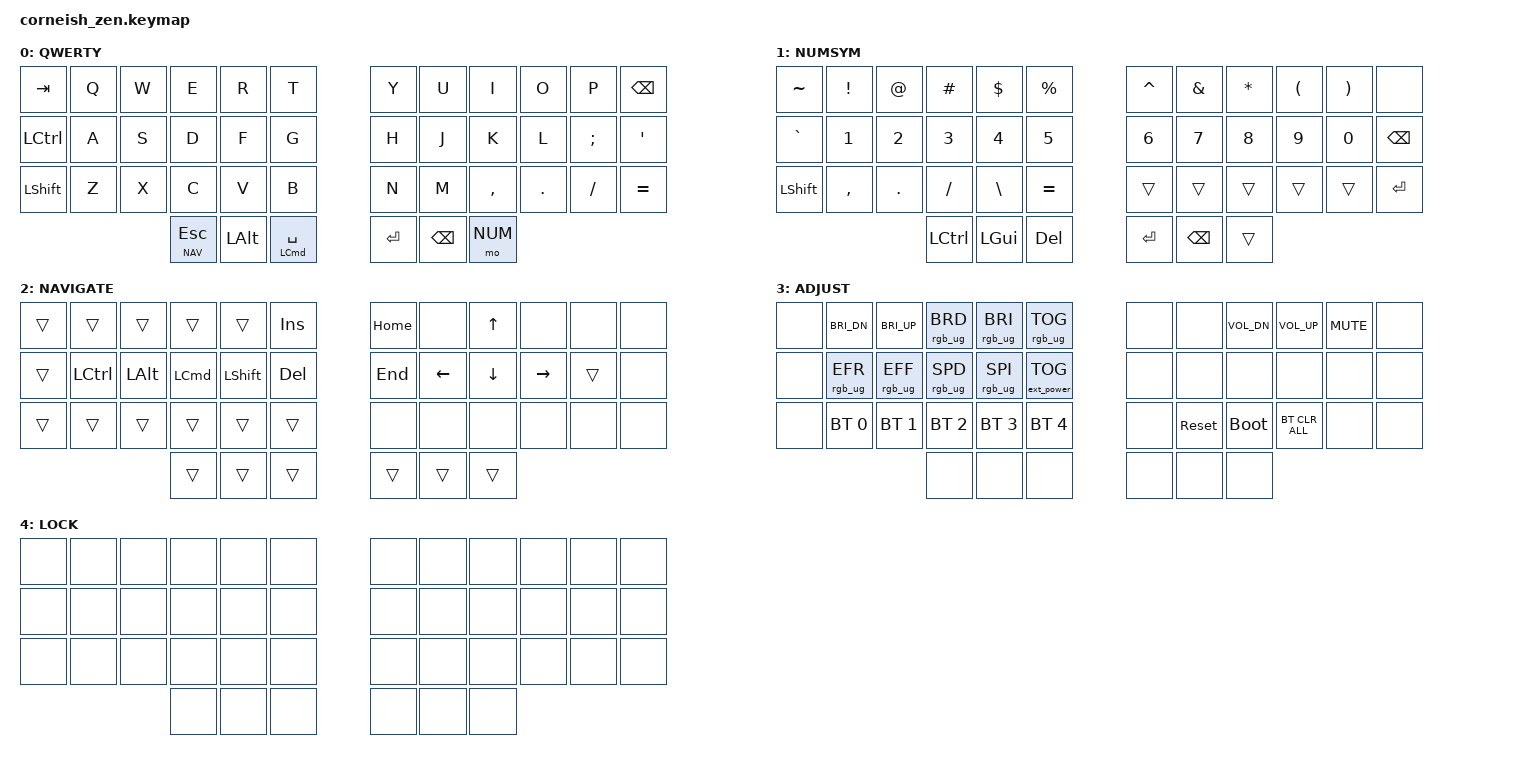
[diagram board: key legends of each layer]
/*
*
* Copyright (c) 2021 Darryl deHaan
* SPDX-License-Identifier: MIT
*
*/

#include <behaviors.dtsi>
#include <dt-bindings/zmk/keys.h>
#include <dt-bindings/zmk/bt.h>
#include <dt-bindings/zmk/ext_power.h>
#include <dt-bindings/zmk/outputs.h>
#include <dt-bindings/zmk/rgb.h>

#define BASE 0
#define NUM 1
#define NAV 2
#define ADJUST 3
#define LOCK 4

/ {
    chosen {
        zmk,matrix_transform = &default_transform;
        // zmk,matrix_transform = &five_column_transform;
    };
};

/ {
    combos {
        compatible = "zmk,combos";

        // combo for turning volume up
        combo_vol_up {
            bindings = <&kp C_VOL_UP>;
            key-positions = <28 35>;
            layers = <0 1 2 3 4>;
            timeout-ms = <50>;
        };

        // combo for turning volume down
        combo_vol_down {
            bindings = <&kp C_VOL_DN>;
            key-positions = <28 34>;
            layers = <0 1 2 3 4>;
            timeout-ms = <50>;
        };


        // combo for delete
        combo_del {
            bindings = <&kp DEL>;
            key-positions = <24 39>;
            layers = <0 1 2 3 4>;
            timeout-ms = <50>;
        };

        // combo for forward slash
        combo_fslh {
            bindings = <&kp FSLH>;
            key-positions = <3 16>;
            layers = <0 1 2 3 4>;
            timeout-ms = <50>;
        };

        combo_bslh {
            bindings = <&kp BSLH>;
            key-positions = <8 19>;
            layers = <0 1 2 3 4>;
            timeout-ms = <50>;
        };

        // combo for typing brackets []
        combo_brackets {
            // 可以用CMD+这个单手返回到代码上一个编辑的地方 或者网页返回
            bindings = <&mt RBKT LBKT>; // CMD+[
            key-positions = <5 6>;
            layers = <0 1 2 3 4>;
            timeout-ms = <50>;
        };

        // combo for typing parenthesis ()
        combo_parenthesis {
            bindings = <&mt RPAR LPAR>;
            key-positions = <17 18>;
            layers = <0 1 2 3 4>;
            timeout-ms = <50>;
        };

        // combo for typing braces {}
        combo_braces {
            bindings = <&mt RBRC LBRC>;
            key-positions = <29 30>;
            layers = <0 1 2 3 4>;
            timeout-ms = <50>;
        };

        // combo for momentarily go to layer ADJUST
        combo_mo_adjust {
            bindings = <&mo ADJUST>;
            key-positions = <36 41>;
            layers = <0 1 2 3 4>;
            timeout-ms = <100>;
        };

        // combo for toggle layer LOCK
        combo_tog_layer_lock {
            bindings = <&tog LOCK>;
            key-positions = <0 5 38>;
            timeout-ms = <100>;
        };
    };

    behaviors {
        
        // Mod-morph behavior
        // turn LEFT_SHIFT + BACKSPACE into DELETE
        // turn RIGHT_SHIFT + BACKSPACE into RIGHT_SHIFT + DELETE
        bspc_del: backspace_delete {
            compatible = "zmk,behavior-mod-morph";
            #binding-cells = <0>;
            bindings = <&kp BACKSPACE>, <&kp DELETE>;
            mods = <(MOD_LSFT|MOD_RSFT)>;
            keep-mods = <(MOD_RSFT)>;
        };

        td0: td0 {
            compatible = "zmk,behavior-tap-dance";
            label = "TD0";
            #binding-cells = <0>;
            tapping-term-ms = <100>;
            bindings = <&kp LEFT_SHIFT>, <&kp LC(SPACE)>;
        };

        mtt: mtt {
            compatible = "zmk,behavior-hold-tap";
            label = "MTT";
            bindings = <&kp>, <&kp>;

            #binding-cells = <2>;
            tapping-term-ms = <500>;
            flavor = "tap-preferred";
        };

        ltt: ltt {
            compatible = "zmk,behavior-hold-tap";
            label = "LTT";
            bindings = <&mo>, <&kp>;

            #binding-cells = <2>;
            flavor = "tap-preferred";
            tapping-term-ms = <200>;
        };

        htg: htg {
            compatible = "zmk,behavior-hold-tap";
            #binding-cells = <2>;
            bindings = <&kp>, <&tog>;
            tapping-term-ms = <200>;
        };
    };
    
    keymap {
        compatible = "zmk,keymap";

        base {
            // -----------------------------------------------------------------------------------------
            // |  TAB |  Q  |  W  |  F  |  P  |  G  |   |  J  |  L   |  U  |  Y  |  :  | BKSP |
            // | CTRL |  A  |  R  |  S  | _T_ |  D  |   |  H  | _N_  |  E  |  I  |  O  |  '   |
            // | SHFT |  Z  |  X  |  C  |  V  |  B  |   |  K  |  M   |  ,  |  .  |  /  | RET  |
            //                    | GUI | LWR | SPC |   | ENT | RSE  | ALT |
            display-name = "QWERTY";
            bindings = <
&kp TAB      &kp Q  &kp W  &kp E   &kp R  &kp T      &kp Y  &kp U      &kp I      &kp O    &kp P     &kp BSPC
&kp LCTRL    &kp A  &kp S  &kp D   &kp F  &kp G      &kp H  &kp J      &kp K      &kp L    &kp SEMI  &kp SQT
&kp LSHFT    &kp Z  &kp X  &kp C   &kp V  &kp B      &kp N  &kp M      &kp COMMA  &kp DOT  &kp FSLH  &kp EQUAL
          &lt NAV ESC  &kp LALT  &mt LCMD SPACE      &kp RET  &kp BSPC  &mo NUM
            >;
        };

        num {
            display-name = "NUMSYM"; // numbers and symbols
            bindings = <
&kp TILDE  &kp EXCL   &kp AT   &kp HASH  &kp DLLR  &kp PRCNT        &kp CARET  &kp AMPS  &kp ASTRK  &kp LPAR  &kp RPAR  &none
&kp GRAVE  &kp N1     &kp N2   &kp N3    &kp N4       &kp N5        &kp N6     &kp N7    &kp N8     &kp N9    &kp N0    &kp BSPC
&kp LSHFT  &kp COMMA  &kp DOT  &kp FSLH  &kp BSLH  &kp EQUAL        &trans     &trans    &trans     &trans    &trans    &kp RET
&kp LCTRL  &kp LEFT_GUI  &kp DEL        &kp RET  &kp BSPC  &trans
>;
        };

        nav {
            display-name = "NAVIGATE";
            bindings = <
&trans  &trans     &trans    &trans    &trans     &kp INS        &kp HOME  &none     &kp UP    &none      &none   &none
&trans  &kp LCTRL  &kp LALT  &kp LCMD  &kp LSHFT  &kp DEL        &kp END   &kp LEFT  &kp DOWN  &kp RIGHT  &trans  &none
&trans  &trans     &trans    &trans    &trans      &trans        &none     &none     &none     &none      &none   &none
&trans  &trans  &trans        &trans  &trans    &trans
>;
        };

        adjust {
          display-name = "ADJUST";
            bindings = <
&none  &kp C_BRI_DN     &kp C_BRI_UP     &rgb_ug RGB_BRD  &rgb_ug RGB_BRI    &rgb_ug RGB_TOG        &none  &none  &kp C_VOL_DN  &kp C_VOL_UP  &kp C_MUTE  &none
&none  &rgb_ug RGB_EFR  &rgb_ug RGB_EFF  &rgb_ug RGB_SPD  &rgb_ug RGB_SPI  &ext_power EP_TOG        &none  &none  &none         &none         &none       &none
&none  &bt BT_SEL 0     &bt BT_SEL 1     &bt BT_SEL 2     &bt BT_SEL 3          &bt BT_SEL 4        &none  &sys_reset   &bootloader  &bt BT_CLR_ALL  &none &none
                                                                         &none  &none  &none        &none  &none  &none
            >;
        };

        lock {
            display-name = "LOCK";
            bindings = <
&none  &none  &none  &none  &none  &none        &none  &none  &none  &none  &none  &none
&none  &none  &none  &none  &none  &none        &none  &none  &none  &none  &none  &none
&none  &none  &none  &none  &none  &none        &none  &none  &none  &none  &none  &none
                     &none  &none  &none        &none  &none  &none
            >;
        };
    };
};
